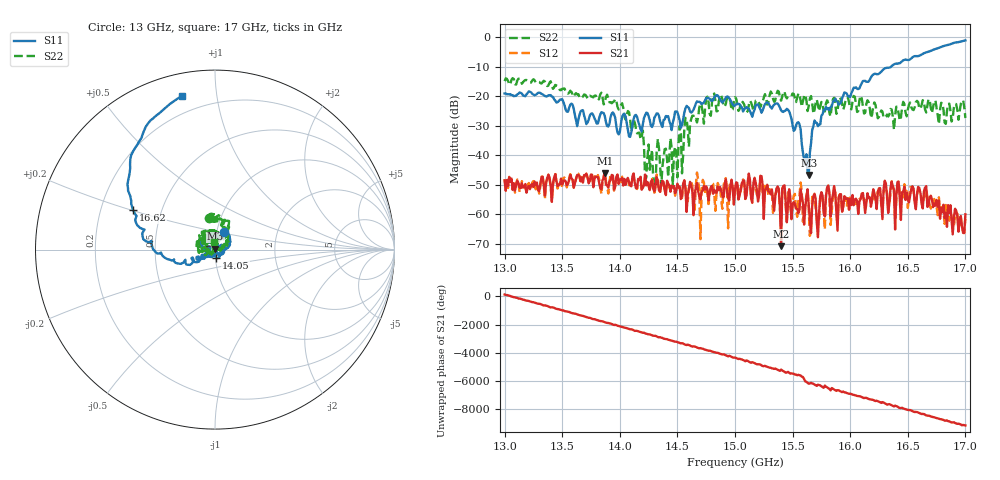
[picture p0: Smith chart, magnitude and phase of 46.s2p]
!Keysight Technologies,P9374A,MY57211807,A.19.30.04
!Date: Friday, May 01, 2026 14:15:00
!Correction: S11(C  2-Port  )
!S21(C  2-Port  )
!S12(C  2-Port  )
!S22(C  2-Port  )
!S2P File: Measurements: S11, S21, S12, S22:
# Hz S  RI  R 50
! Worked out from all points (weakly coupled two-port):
!   401 points, 13 GHz to 17 GHz, reference 50 ohm
!   highest |S21| = -46.13 dB at 13.87 GHz (marker M1); lowest = -70.9 dB at 15.4 GHz (marker M2)
!   lowest |S11| = -46.7 dB at 15.64 GHz (marker M3), VSWR 1.01, Z = 50.2 + j0.433 ohm
!   |S11| at or under -10 dB: start of sweep to 16.36 GHz
!   |S22| runs from -51.0 to -13.9 dB; largest |S21 - S12| = 0.0019
!   S11 on the Smith chart (normalised r, x): 13 GHz: 1.08, +0.22; 14.05 GHz: 1.01, -0.09; 16.62 GHz: 0.34, +0.20; 17 GHz: 0.11, +0.80
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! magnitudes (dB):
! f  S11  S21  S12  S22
! 13 GHz  -19.1  -48.6  -48.2  -14.9
! 13.67 GHz  -24.8  -47.6  -47.4  -20.6
! 13.87 GHz  -26.9  -46.1  -45.7  -22.3
! 14.05 GHz  -26.9  -50.1  -49.3  -27.9
! 14.08 GHz  -33.7  -49.1  -50.2  -25.5
! 14.13 GHz  -26.6  -49.4  -49.4  -29.0
! 14.19 GHz  -32.0  -51.7  -51.6  -33.9
! 14.24 GHz  -25.8  -49.1  -49.4  -40.7
! 14.34 GHz  -26.7  -52.0  -51.6  -37.7
! 14.48 GHz  -25.3  -52.9  -53.8  -37.1
! 14.57 GHz  -24.2  -51.4  -50.3  -27.4
! 14.76 GHz  -20.7  -51.5  -52.7  -20.2
! 15 GHz  -23.1  -51.7  -53.5  -20.4
! 15.4 GHz  -24.8  -70.9  -64.0  -21.6
! 15.55 GHz  -28.9  -59.7  -55.5  -19.1
! 15.62 GHz  -39.7  -54.1  -53.8  -21.5
! 15.64 GHz  -46.7  -56.8  -58.3  -23.4
! 15.67 GHz  -31.5  -57.2  -54.1  -22.3
! 15.86 GHz  -21.6  -50.5  -51.7  -20.6
! 16.34 GHz  -10.3  -56.2  -56.7  -26.2
! 16.62 GHz  -5.9  -56.6  -54.4  -23.0
! 17 GHz  -1.2  -60.1  -61.6  -27.4
